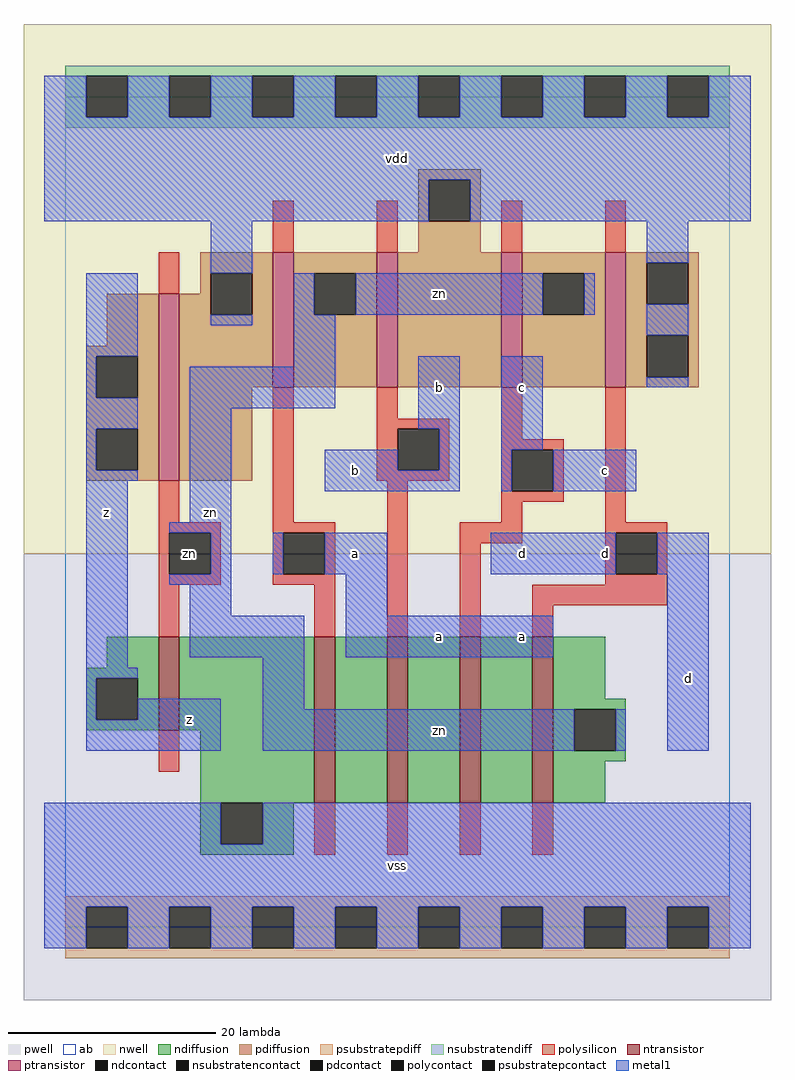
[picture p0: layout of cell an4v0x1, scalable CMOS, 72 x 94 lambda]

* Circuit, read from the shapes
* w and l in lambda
.subckt an4v0x1 a b c d vdd vss z zn
M1 vss zn z vss nfet w=9 l=2
M2 n1 a vss vss nfet w=16 l=2
M3 n2 b n1 vss nfet w=16 l=2
M4 n3 c n2 vss nfet w=16 l=2
M5 zn d n3 vss nfet w=16 l=2
M6 vdd zn z vdd pfet w=18 l=2
M7 zn a vdd vdd pfet w=13 l=2
M8 vdd b zn vdd pfet w=13 l=2
M9 zn c vdd vdd pfet w=13 l=2
M10 vdd d zn vdd pfet w=13 l=2
.ends

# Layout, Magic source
magic
tech scmos
<< ab >>
rect 0 0 64 80
<< pwell >>
rect -4 -7 68 36
<< nwell >>
rect -4 36 68 87
<< polysilicon >>
rect 20 65 22 70
rect 30 65 32 70
rect 42 65 44 70
rect 52 65 54 70
rect 9 61 11 65
rect 9 39 11 43
rect 20 39 22 52
rect 30 49 32 52
rect 30 48 37 49
rect 30 44 32 48
rect 36 44 37 48
rect 30 43 37 44
rect 42 47 44 52
rect 42 46 48 47
rect 9 38 15 39
rect 9 34 10 38
rect 14 34 15 38
rect 9 33 15 34
rect 20 38 26 39
rect 20 34 21 38
rect 25 34 26 38
rect 20 33 26 34
rect 9 28 11 33
rect 24 28 26 33
rect 31 28 33 43
rect 42 42 43 46
rect 47 42 48 46
rect 42 41 48 42
rect 42 39 44 41
rect 38 37 44 39
rect 52 39 54 52
rect 52 38 58 39
rect 38 28 40 37
rect 52 34 53 38
rect 57 34 58 38
rect 52 33 58 34
rect 45 31 58 33
rect 45 28 47 31
rect 9 15 11 19
rect 24 7 26 12
rect 31 7 33 12
rect 38 7 40 12
rect 45 7 47 12
<< ndiffusion >>
rect 4 25 9 28
rect 2 24 9 25
rect 2 20 3 24
rect 7 20 9 24
rect 2 19 9 20
rect 11 19 24 28
rect 13 12 24 19
rect 26 12 31 28
rect 33 12 38 28
rect 40 12 45 28
rect 47 22 52 28
rect 47 21 54 22
rect 47 17 49 21
rect 53 17 54 21
rect 47 16 54 17
rect 47 12 52 16
rect 13 8 15 12
rect 19 8 22 12
rect 13 7 22 8
<< pdiffusion >>
rect 34 72 40 73
rect 34 68 35 72
rect 39 68 40 72
rect 34 65 40 68
rect 13 63 20 65
rect 13 61 14 63
rect 4 56 9 61
rect 2 55 9 56
rect 2 51 3 55
rect 7 51 9 55
rect 2 48 9 51
rect 2 44 3 48
rect 7 44 9 48
rect 2 43 9 44
rect 11 59 14 61
rect 18 59 20 63
rect 11 52 20 59
rect 22 63 30 65
rect 22 59 24 63
rect 28 59 30 63
rect 22 52 30 59
rect 32 52 42 65
rect 44 63 52 65
rect 44 59 46 63
rect 50 59 52 63
rect 44 52 52 59
rect 54 64 61 65
rect 54 60 56 64
rect 60 60 61 64
rect 54 57 61 60
rect 54 53 56 57
rect 60 53 61 57
rect 54 52 61 53
rect 11 43 18 52
<< metal1 >>
rect -2 78 2 82
rect 6 78 10 82
rect 14 78 18 82
rect 22 78 26 82
rect 30 78 34 82
rect 38 78 42 82
rect 46 78 50 82
rect 54 78 58 82
rect 62 78 66 82
rect -2 72 66 78
rect -2 68 35 72
rect 39 68 66 72
rect 14 63 18 68
rect 56 64 60 68
rect 2 55 7 63
rect 14 58 18 59
rect 22 59 24 63
rect 28 59 46 63
rect 50 59 51 63
rect 2 51 3 55
rect 22 54 26 59
rect 56 57 60 60
rect 2 48 7 51
rect 2 44 3 48
rect 2 43 7 44
rect 12 50 26 54
rect 2 25 6 43
rect 12 39 16 50
rect 34 48 38 55
rect 25 44 32 46
rect 36 44 38 48
rect 25 42 38 44
rect 42 46 46 55
rect 56 52 60 53
rect 42 42 43 46
rect 47 42 55 46
rect 10 38 16 39
rect 14 34 16 38
rect 20 34 21 38
rect 25 34 31 38
rect 41 34 53 38
rect 57 34 62 38
rect 10 33 16 34
rect 12 30 16 33
rect 27 30 31 34
rect 12 26 23 30
rect 27 26 47 30
rect 2 24 7 25
rect 2 20 3 24
rect 7 20 15 22
rect 2 17 15 20
rect 19 21 23 26
rect 19 17 49 21
rect 53 17 54 21
rect 58 17 62 34
rect -2 8 15 12
rect 19 8 66 12
rect -2 2 66 8
rect -2 -2 2 2
rect 6 -2 10 2
rect 14 -2 18 2
rect 22 -2 26 2
rect 30 -2 34 2
rect 38 -2 42 2
rect 46 -2 50 2
rect 54 -2 58 2
rect 62 -2 66 2
<< ntransistor >>
rect 9 19 11 28
rect 24 12 26 28
rect 31 12 33 28
rect 38 12 40 28
rect 45 12 47 28
<< ptransistor >>
rect 9 43 11 61
rect 20 52 22 65
rect 30 52 32 65
rect 42 52 44 65
rect 52 52 54 65
<< polycontact >>
rect 32 44 36 48
rect 10 34 14 38
rect 21 34 25 38
rect 43 42 47 46
rect 53 34 57 38
<< ndcontact >>
rect 3 20 7 24
rect 49 17 53 21
rect 15 8 19 12
<< pdcontact >>
rect 35 68 39 72
rect 3 51 7 55
rect 3 44 7 48
rect 14 59 18 63
rect 24 59 28 63
rect 46 59 50 63
rect 56 60 60 64
rect 56 53 60 57
<< psubstratepcontact >>
rect 2 -2 6 2
rect 10 -2 14 2
rect 18 -2 22 2
rect 26 -2 30 2
rect 34 -2 38 2
rect 42 -2 46 2
rect 50 -2 54 2
rect 58 -2 62 2
<< nsubstratencontact >>
rect 2 78 6 82
rect 10 78 14 82
rect 18 78 22 82
rect 26 78 30 82
rect 34 78 38 82
rect 42 78 46 82
rect 50 78 54 82
rect 58 78 62 82
<< psubstratepdiff >>
rect 0 2 64 3
rect 0 -2 2 2
rect 6 -2 10 2
rect 14 -2 18 2
rect 22 -2 26 2
rect 30 -2 34 2
rect 38 -2 42 2
rect 46 -2 50 2
rect 54 -2 58 2
rect 62 -2 64 2
rect 0 -3 64 -2
<< nsubstratendiff >>
rect 0 82 64 83
rect 0 78 2 82
rect 6 78 10 82
rect 14 78 18 82
rect 22 78 26 82
rect 30 78 34 82
rect 38 78 42 82
rect 46 78 50 82
rect 54 78 58 82
rect 62 78 64 82
rect 0 77 64 78
<< labels >>
rlabel polycontact 12 36 12 36 6 zn
rlabel metal1 4 40 4 40 6 z
rlabel metal1 12 20 12 20 6 z
rlabel metal1 14 40 14 40 6 zn
rlabel metal1 32 6 32 6 6 vss
rlabel metal1 36 28 36 28 6 a
rlabel metal1 28 36 28 36 6 a
rlabel metal1 28 44 28 44 6 b
rlabel metal1 36 52 36 52 6 b
rlabel metal1 32 74 32 74 6 vdd
rlabel metal1 44 28 44 28 6 a
rlabel metal1 44 36 44 36 6 d
rlabel metal1 44 52 44 52 6 c
rlabel metal1 36 61 36 61 6 zn
rlabel metal1 36 19 36 19 6 zn
rlabel metal1 60 24 60 24 6 d
rlabel metal1 52 36 52 36 6 d
rlabel metal1 52 44 52 44 6 c
<< end >>
